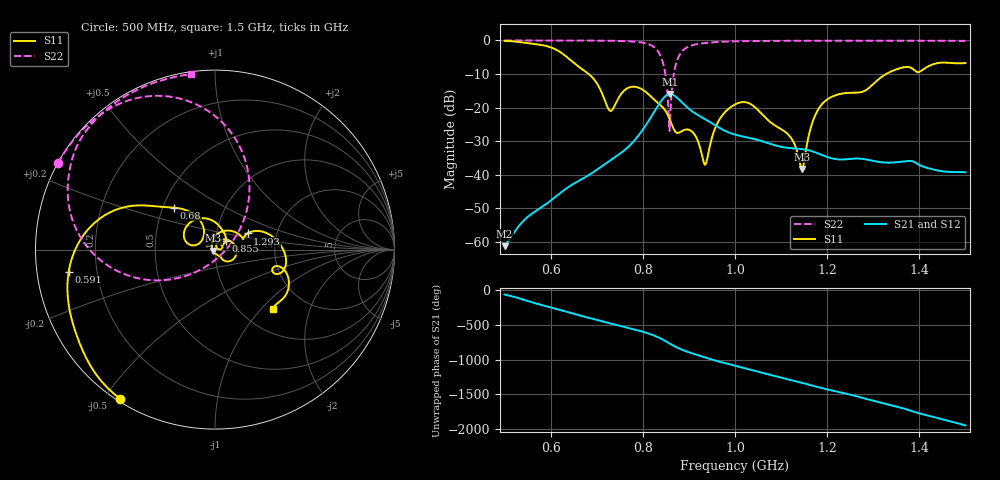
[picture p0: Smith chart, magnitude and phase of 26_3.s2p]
! TOUCHSTONE file generated by CST MICROWAVE STUDIO
! Date and time: Fri Oct 30 08:08:49 2020
! Project name: Scenario_1_Circular_Tissue_out_of_Line.cst
! Parameters = {dy1=87.525; L_HA=400; MT=2.54; Rad_Dielectric=30; Rad_Lower=7.3; Rad_Upper=30; a_HA=580; a_WG=246; b_HA=500; b_WG=121; c_HA=0; c_WG=187; d_feed=85; dx1=520; h_feed=15; h_lower=18; h_upper=40}
! Header version: 2018
! Port assignment regex: !\s*Touchstone port\s*([0-9]+)\s*=\s*(CST MWS port|CST DS port)\s*([0-9]+|Zmin|Zmax)\s*\(\"(.*)\"\)(\s*mode\s*([0-9]+))?.*
! Touchstone port assignment:
! Touchstone port 1 = CST MWS port 1 ("")
! Touchstone port 2 = CST MWS port 2 ("")
# GHz S DB R 50
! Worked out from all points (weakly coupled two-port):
!   1001 points, 500 MHz to 1.5 GHz, reference 50 ohm
!   highest |S21| = -15.96 dB at 859 MHz (marker M1); lowest = -61.2 dB at 500 MHz (marker M2)
!   lowest |S11| = -38.3 dB at 1.145 GHz (marker M3), VSWR 1.02, Z = 49 - j0.638 ohm
!   |S11| at or under -10 dB: 682.7 MHz to 1.328 GHz (645.2 MHz wide, 64.2 % of centre)
!   |S22| runs from -26.9 to 0.0 dB; largest |S21 - S12| = 0.00016
!   S11 on the Smith chart (normalised r, x): 500 MHz: 0.01, -0.55; 591 MHz: 0.10, -0.07; 680 MHz: 0.57, +0.30; 855 MHz: 1.12, +0.11; 1.293 GHz: 1.41, +0.27; 1.5 GHz: 1.39, -1.16
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0.5  -0.13 -122.4  -61.23 -62.4  -61.23 -62.4  -0.01 151.1
0.591  -1.68 -171.4  -48.61 127.9  -48.60 127.9  -0.02 144.8
0.667  -8.42 141.1  -41.32 -10.8  -41.32 -10.8  -0.04 138.4
0.68  -9.70 134.4  -40.29 -33.2  -40.29 -33.2  -0.05 137.1
0.729  -20.95 142.9  -35.74 -117.8  -35.74 -117.8  -0.11 131.0
0.776  -13.79 141.1  -30.62 163.8  -30.62 163.8  -0.30 121.4
0.834  -18.76 68.6  -19.19 38.9  -19.20 39.0  -3.45 83.4
0.846  -20.35 52.6  -16.96 -1.6  -16.95 -1.6  -7.96 61.3
0.855  -22.41 39.4  -16.06 -35.9  -16.05 -35.9  -19.26 25.3
0.859  -23.69 35.2  -15.96 -51.5  -15.96 -51.5  -24.10 -94.2
0.88  -27.36 45.5  -17.80 -123.9  -17.80 -123.9  -4.27 -172.2
0.909  -27.44 16.3  -21.29 165.3  -21.29 165.3  -1.35 162.5
0.935  -37.00 35.3  -23.44 110.7  -23.44 110.7  -0.76 152.6
0.963  -24.31 60.0  -25.76 55.9  -25.76 55.9  -0.46 146.3
1  -19.05 13.4  -28.02 -7.1  -28.02 -7.1  -0.26 140.3
1.113  -27.66 -57.4  -31.95 160.5  -31.94 160.5  -0.12 128.6
1.145  -38.28 -147.7  -32.33 105.8  -32.34 105.7  -0.11 125.9
1.167  -24.83 101.7  -32.98 65.4  -32.98 65.4  -0.10 124.2
1.203  -17.30 50.3  -34.83 5.8  -34.83 5.8  -0.09 121.4
1.293  -13.87 26.4  -35.65 -141.1  -35.67 -141.1  -0.08 114.6
1.334  -9.55 11.8  -36.37 151.1  -36.37 151.1  -0.08 111.5
1.5  -6.74 -45.6  -39.23 -149.7  -39.23 -149.8  -0.13 97.9
